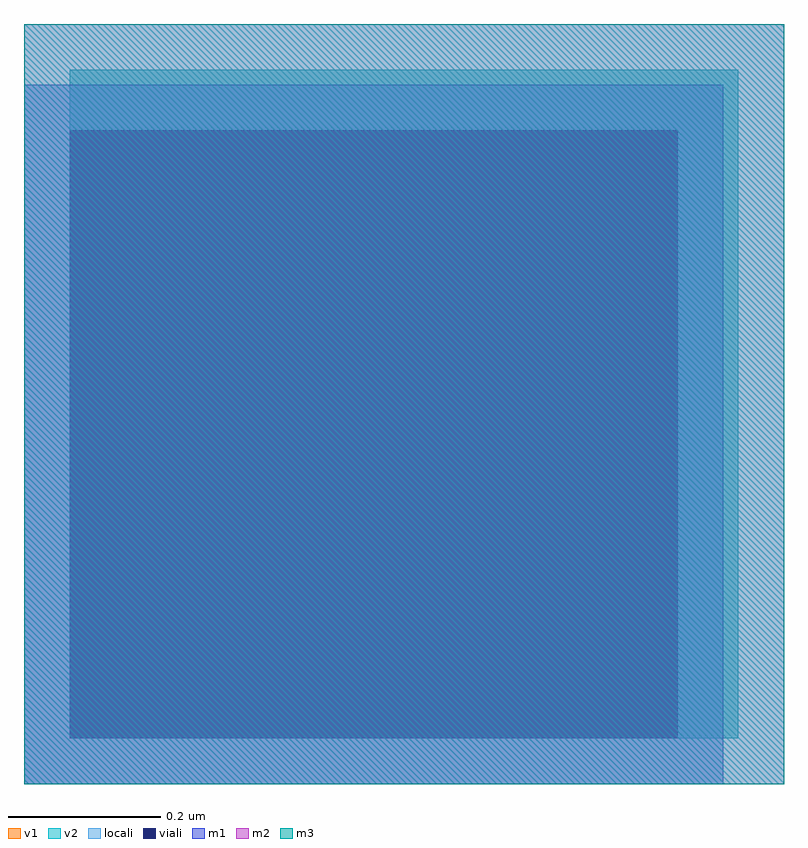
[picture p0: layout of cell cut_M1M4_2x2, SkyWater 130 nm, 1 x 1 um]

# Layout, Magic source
magic
tech sky130A
magscale 1 2
<< locali >>
rect 0 0 184 184
<< m1 >>
rect 0 0 184 184
<< m2 >>
rect 0 0 200 200
<< m3 >>
rect 0 0 200 200
<< viali >>
rect 12 12 172 172
<< v1 >>
rect 12 12 172 172
<< v2 >>
rect 12 12 188 188
<< labels >>
<< end >>
